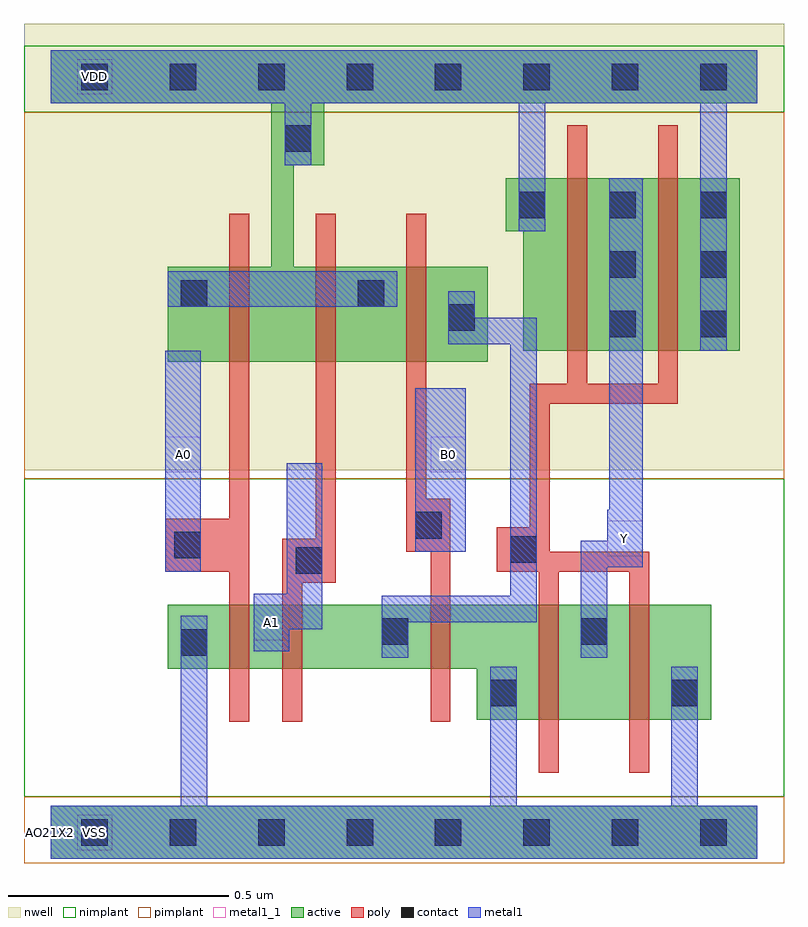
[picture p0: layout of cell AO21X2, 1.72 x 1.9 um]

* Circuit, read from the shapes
.subckt AO21X2 A0 A1 B0 VDD VSS Y
M1 n1 A0 VSS VSS nfet w=0.145u l=0.045u
M2 n2 A1 n1 VSS nfet w=0.145u l=0.045u
M3 VSS B0 n2 VSS nfet w=0.145u l=0.045u
M4 Y n2 VSS VSS nfet w=0.26u l=0.045u m=2
M5 VDD A0 n3 VDD pfet w=0.215u l=0.045u
M6 n3 A1 VDD VDD pfet w=0.215u l=0.045u
M7 n2 B0 n3 VDD pfet w=0.215u l=0.045u
M8 Y n2 VDD VDD pfet w=0.39u l=0.045u m=2
.ends

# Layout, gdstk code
import gdstk
lib = gdstk.Library(unit=1e-6, precision=5e-10)
def R(c, l, rs):  # rectangles x0, y0, x1, y1
    for r in rs: c.add(gdstk.rectangle(r[:2], r[2:], *l))
def A(c, l, x, y, w, h, nx, ny, dx, dy):  # array of equal rectangles
    R(c, l, [(x+i*dx, y+j*dy, x+i*dx+w, y+j*dy+h) for i in range(nx) for j in range(ny)])
def P(c, l, *ps):  # polygons
    for p in ps: c.add(gdstk.Polygon(p, *l))
active = (1, 0)
nwell = (2, 0)
poly = (3, 0)
nimplant = (4, 0)
pimplant = (5, 0)
contact = (6, 0)
metal1 = (7, 0)
metal1_1 = (7, 1)

ao21x2 = lib.new_cell('AO21X2')
R(ao21x2, active, [(0,-0.06,1.6,0.06)])
P(ao21x2, active, [(0,1.77),(1.6,1.77),(1.6,1.65),(0.62,1.65),(0.62,1.51),(0.55,1.51),(0.55,1.28),(0.99,1.28),(0.99,1.065),(0.265,1.065),(0.265,1.28),(0.5,1.28),(0.5,1.65),(0,1.65)],
  [(1.03,1.48),(1.56,1.48),(1.56,1.09),(1.07,1.09),(1.07,1.36),(1.03,1.36)],
  [(0.265,0.515),(1.495,0.515),(1.495,0.255),(0.965,0.255),(0.965,0.37),(0.265,0.37)])
R(ao21x2, nwell, [(-0.06,0.82,1.66,1.83)])
P(ao21x2, poly, [(1.17,1.6),(1.215,1.6),(1.215,1.015),(1.375,1.015),(1.375,1.6),(1.42,1.6),(1.42,0.97),(1.13,0.97),(1.13,0.635),(1.355,0.635),(1.355,0.135),(1.31,0.135),(1.31,0.59),(1.15,0.59),(1.15,0.135),(1.105,0.135),(1.105,0.59),(1.01,0.59),(1.01,0.69),(1.085,0.69),(1.085,1.015),(1.17,1.015)],
  [(0.405,1.4),(0.45,1.4),(0.45,0.25),(0.405,0.25),(0.405,0.59),(0.26,0.59),(0.26,0.71),(0.405,0.71)],
  [(0.6,1.4),(0.645,1.4),(0.645,0.565),(0.57,0.565),(0.57,0.25),(0.525,0.25),(0.525,0.665),(0.6,0.665)],
  [(0.805,1.4),(0.85,1.4),(0.85,0.755),(0.905,0.755),(0.905,0.25),(0.86,0.25),(0.86,0.635),(0.805,0.635)])
R(ao21x2, nimplant, [(-0.06,0.08,1.66,0.8), (-0.06,1.63,1.66,1.78)])
R(ao21x2, pimplant, [(-0.06,-0.07,1.66,0.08), (-0.06,0.8,1.66,1.63)])
A(ao21x2, contact, 0.07, -0.03, 0.06, 0.06, 8, 2, 0.2, 1.71)
A(ao21x2, contact, 1.06, 1.39, 0.06, 0.06, 3, 1, 0.205, 0)
R(ao21x2, contact, [(0.995,0.285,1.055,0.345), (1.405,0.285,1.465,0.345), (0.295,0.4,0.355,0.46), (0.75,0.425,0.81,0.485), (1.2,0.425,1.26,0.485), (0.555,0.585,0.615,0.645), (1.04,0.61,1.1,0.67), (0.28,0.62,0.34,0.68), (0.825,0.665,0.885,0.725), (1.265,1.12,1.325,1.18), (1.47,1.12,1.53,1.18), (0.9,1.135,0.96,1.195), (0.295,1.19,0.355,1.25), (0.695,1.19,0.755,1.25), (1.265,1.255,1.325,1.315), (1.47,1.255,1.53,1.315), (0.53,1.54,0.59,1.6)])
R(ao21x2, metal1, [(0.26,0.59,0.34,1.09), (0.825,0.635,0.94,1.005), (0.265,1.19,0.785,1.27)])
P(ao21x2, metal1, [(0.535,0.835),(0.615,0.835),(0.615,0.46),(0.54,0.46),(0.54,0.41),(0.46,0.41),(0.46,0.54),(0.535,0.54)],
  [(0.295,0.49),(0.355,0.49),(0.355,0.06),(0.995,0.06),(0.995,0.375),(1.055,0.375),(1.055,0.06),(1.405,0.06),(1.405,0.375),(1.465,0.375),(1.465,0.06),(1.6,0.06),(1.6,-0.06),(0,-0.06),(0,0.06),(0.295,0.06)],
  [(0,1.77),(1.6,1.77),(1.6,1.65),(1.53,1.65),(1.53,1.09),(1.47,1.09),(1.47,1.65),(1.12,1.65),(1.12,1.36),(1.06,1.36),(1.06,1.65),(0.59,1.65),(0.59,1.51),(0.53,1.51),(0.53,1.65),(0,1.65)],
  [(1.265,1.48),(1.34,1.48),(1.34,0.6),(1.26,0.6),(1.26,0.395),(1.2,0.395),(1.2,0.66),(1.26,0.66),(1.26,0.73),(1.265,0.73)],
  [(0.9,1.225),(0.96,1.225),(0.96,1.165),(1.1,1.165),(1.1,0.475),(0.81,0.475),(0.81,0.395),(0.75,0.395),(0.75,0.535),(1.04,0.535),(1.04,1.105),(0.9,1.105)])
R(ao21x2, metal1_1, [(0.06,-0.04,0.14,0.04), (0.46,0.435,0.54,0.515), (1.26,0.625,1.34,0.705), (0.26,0.815,0.34,0.895), (0.86,0.815,0.94,0.895), (0.06,1.67,0.14,1.75)])
ao21x2.add(gdstk.Label('Y', (1.3,0.665), layer=7, texttype=1))
ao21x2.add(gdstk.Label('A0', (0.3,0.855), layer=7, texttype=1))
ao21x2.add(gdstk.Label('A1', (0.5,0.475), layer=7, texttype=1))
ao21x2.add(gdstk.Label('B0', (0.9,0.855), layer=7, texttype=1))
ao21x2.add(gdstk.Label('VDD', (0.1,1.71), layer=7, texttype=1))
ao21x2.add(gdstk.Label('VSS', (0.1,0), layer=7, texttype=1))
ao21x2.add(gdstk.Label('AO21X2', (0,0), layer=63, texttype=0))

lib.write_gds('AO21X2.gds')
